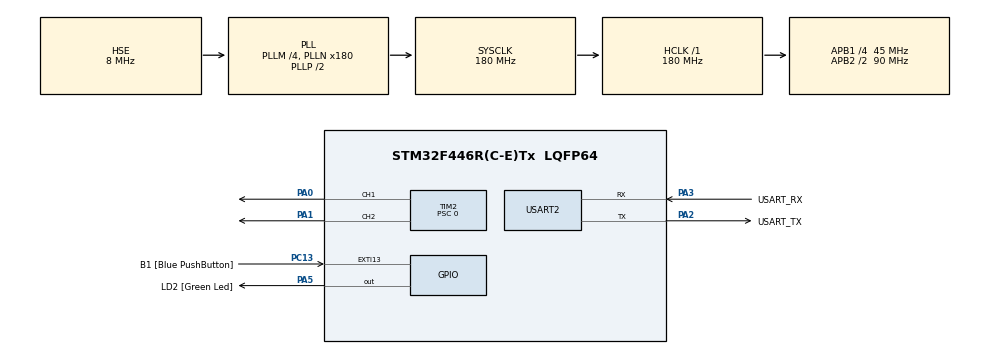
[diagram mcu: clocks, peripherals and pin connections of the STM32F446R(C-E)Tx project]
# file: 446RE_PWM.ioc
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Mcu.Family=STM32F4
Mcu.Name=STM32F446R(C-E)Tx
Mcu.Package=LQFP64
NVIC.PriorityGroup=NVIC_PRIORITYGROUP_0
NVIC.TIM3_IRQn=true\:0\:0\:false\:false\:true\:true
PA0-WKUP.Signal=S_TIM2_CH1_ETR
PA1.Signal=S_TIM2_CH2
PA13.GPIO_Label=TMS
PA13.Mode=Serial_Wire
PA13.Signal=SYS_JTMS-SWDIO
PA14.GPIO_Label=TCK
PA14.Mode=Serial_Wire
PA14.Signal=SYS_JTCK-SWCLK
PA2.GPIO_Label=USART_TX
PA2.Mode=Asynchronous
PA2.Signal=USART2_TX
PA3.GPIO_Label=USART_RX
PA3.Mode=Asynchronous
PA3.Signal=USART2_RX
PA5.GPIO_Label=LD2 [Green Led]
PA5.Signal=GPIO_Output
PB3.GPIO_Label=SWO
PB3.Signal=SYS_JTDO-SWO
PC13.GPIO_Label=B1 [Blue PushButton]
PC13.GPIO_ModeDefaultEXTI=GPIO_MODE_IT_FALLING
PC13.Signal=GPXTI13
PC14-OSC32_IN.Mode=LSE-External-Oscillator
PC14-OSC32_IN.Signal=RCC_OSC32_IN
PC15-OSC32_OUT.Mode=LSE-External-Oscillator
PC15-OSC32_OUT.Signal=RCC_OSC32_OUT
PH0-OSC_IN.Mode=HSE-External-Oscillator
PH0-OSC_IN.Signal=RCC_OSC_IN
PH1-OSC_OUT.Mode=HSE-External-Oscillator
PH1-OSC_OUT.Signal=RCC_OSC_OUT
ProjectManager.HeapSize=0x200
ProjectManager.StackSize=0x400
ProjectManager.TargetToolchain=TrueSTUDIO
RCC.48MHZClocksFreq_Value=84000000
RCC.AHBFreq_Value=180000000
RCC.APB1CLKDivider=RCC_HCLK_DIV4
RCC.APB1Freq_Value=45000000
RCC.APB1TimFreq_Value=90000000
RCC.APB2CLKDivider=RCC_HCLK_DIV2
RCC.APB2Freq_Value=90000000
RCC.APB2TimFreq_Value=180000000
RCC.CortexFreq_Value=180000000
RCC.FLatency-AdvancedSettings=FLASH_LATENCY_5
RCC.HCLKFreq_Value=180000000
RCC.HSE_VALUE=8000000
RCC.HSI_VALUE=16000000
RCC.PLLM=4
RCC.PLLN=180
RCC.PLLSourceVirtual=RCC_PLLSOURCE_HSE
RCC.SYSCLKFreq_VALUE=180000000
RCC.SYSCLKSource=RCC_SYSCLKSOURCE_PLLCLK
RCC.USBFreq_Value=180000000
RCC.VCOOutputFreq_Value=360000000
SH.S_TIM2_CH1_ETR.0=TIM2_CH1,PWM Generation1 CH1
SH.S_TIM2_CH2.0=TIM2_CH2,PWM Generation2 CH2
TIM2.Channel-PWM\ Generation1\ CH1=TIM_CHANNEL_1
TIM2.Channel-PWM\ Generation2\ CH2=TIM_CHANNEL_2
TIM2.Period=999
TIM2.Prescaler=0
TIM3.Period=9999
TIM3.Prescaler=26
USART2.VirtualMode=VM_ASYNC
VP_TIM3_VS_ClockSourceINT.Mode=Internal
board=NUCLEO-F446RE

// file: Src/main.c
/**
  ******************************************************************************
  * @file           : main.c
  * @brief          : Main program body
  ******************************************************************************
  ** This notice applies to any and all portions of this file
  * that are not between comment pairs USER CODE BEGIN and
  * USER CODE END. Other portions of this file, whether
  * inserted by the user or by software development tools
  * are owned by their respective copyright owners.
  *
  * COPYRIGHT(c) 2018 STMicroelectronics
  *
  * Redistribution and use in source and binary forms, with or without modification,
  * are permitted provided that the following conditions are met:
  *   1. Redistributions of source code must retain the above copyright notice,
  *      this list of conditions and the following disclaimer.
  *   2. Redistributions in binary form must reproduce the above copyright notice,
  *      this list of conditions and the following disclaimer in the documentation
  *      and/or other materials provided with the distribution.
  *   3. Neither the name of STMicroelectronics nor the names of its contributors
  *      may be used to endorse or promote products derived from this software
  *      without specific prior written permission.
  *
  * THIS SOFTWARE IS PROVIDED BY THE COPYRIGHT HOLDERS AND CONTRIBUTORS "AS IS"
  * AND ANY EXPRESS OR IMPLIED WARRANTIES, INCLUDING, BUT NOT LIMITED TO, THE
  * IMPLIED WARRANTIES OF MERCHANTABILITY AND FITNESS FOR A PARTICULAR PURPOSE ARE
  * DISCLAIMED. IN NO EVENT SHALL THE COPYRIGHT HOLDER OR CONTRIBUTORS BE LIABLE
  * FOR ANY DIRECT, INDIRECT, INCIDENTAL, SPECIAL, EXEMPLARY, OR CONSEQUENTIAL
  * DAMAGES (INCLUDING, BUT NOT LIMITED TO, PROCUREMENT OF SUBSTITUTE GOODS OR
  * SERVICES; LOSS OF USE, DATA, OR PROFITS; OR BUSINESS INTERRUPTION) HOWEVER
  * CAUSED AND ON ANY THEORY OF LIABILITY, WHETHER IN CONTRACT, STRICT LIABILITY,
  * OR TORT (INCLUDING NEGLIGENCE OR OTHERWISE) ARISING IN ANY WAY OUT OF THE USE
  * OF THIS SOFTWARE, EVEN IF ADVISED OF THE POSSIBILITY OF SUCH DAMAGE.
  *
  ******************************************************************************
  */
#include "main.h"
#include "stm32f4xx_hal.h"

TIM_HandleTypeDef htim2;
TIM_HandleTypeDef htim3;

UART_HandleTypeDef huart2;

/* USER CODE BEGIN PV */
/* Private variables ---------------------------------------------------------*/
int up,dn;
uint8_t updntgl = 0;
/* USER CODE END PV */

void SystemClock_Config(void);
static void MX_GPIO_Init(void);
static void MX_USART2_UART_Init(void);
static void MX_TIM2_Init(void);
static void MX_TIM3_Init(void);
void HAL_TIM_MspPostInit(TIM_HandleTypeDef *htim);

/* USER CODE BEGIN PFP */
/* Private function prototypes -----------------------------------------------*/
void	HAL_TIM_PeriodElapsedCallback(TIM_HandleTypeDef *htim);

/* USER CODE END PFP */

/* USER CODE BEGIN 0 */
void	HAL_TIM_PeriodElapsedCallback(TIM_HandleTypeDef *htim)
{
	if(htim->Instance==TIM3)
	{
		  if(up<=999 && updntgl==0)
		  {
			  TIM2->CCR1 = up;
			  TIM2->CCR2 = 999-up;
			  if(up<999) up++;
			  else if(up==999)
			  {
				  updntgl=1;
			  }
		  }
		  else if(up>=0 && updntgl==1)
		  {
			  TIM2->CCR1 = up;
			  TIM2->CCR2 = 999-up;
			  if(up>=1 && up<=999) up--;
			  else if(up==0)
			  {
				  updntgl=0;
			  }
		  }
	}
}
/* USER CODE END 0 */

int main(void)
{

  /* MCU Configuration----------------------------------------------------------*/

  /* Reset of all peripherals, Initializes the Flash interface and the Systick. */
  HAL_Init();

  /* Configure the system clock */
  SystemClock_Config();

  /* Initialize all configured peripherals */
  MX_GPIO_Init();
  MX_USART2_UART_Init();
  MX_TIM2_Init();
  MX_TIM3_Init();
  /* USER CODE BEGIN 2 */
  while(HAL_TIM_Base_Start_IT(&htim3)!=HAL_OK);

  while(HAL_TIM_PWM_Start(&htim2,TIM_CHANNEL_1)!=HAL_OK);
  while(HAL_TIM_PWM_Start(&htim2,TIM_CHANNEL_2)!=HAL_OK);
  /* USER CODE END 2 */

  /* Infinite loop */
  /* USER CODE BEGIN WHILE */
  HAL_GPIO_WritePin(LD2_GPIO_Port, LD2_Pin, GPIO_PIN_SET);

  while (1)
  {

  /* USER CODE END WHILE */

  /* USER CODE BEGIN 3 */
/*
	  for(up=0;up<=999;up++)
	  {
		  TIM2->CCR1 = up;
		  TIM2->CCR2 = 999-up;
		  HAL_Delay(2);
	  }
	  HAL_Delay(100);
	  for(dn=999;dn>=0;dn--)
	  {
		  TIM2->CCR1 = dn;
		  TIM2->CCR2 = 999-dn;
		  HAL_Delay(2);
	  }
	  HAL_Delay(100); */

  }
  /* USER CODE END 3 */

}

void SystemClock_Config(void)
{

  RCC_OscInitTypeDef RCC_OscInitStruct;
  RCC_ClkInitTypeDef RCC_ClkInitStruct;

    /**Configure the main internal regulator output voltage
    */
  __HAL_RCC_PWR_CLK_ENABLE();

  __HAL_PWR_VOLTAGESCALING_CONFIG(PWR_REGULATOR_VOLTAGE_SCALE1);

    /**Initializes the CPU, AHB and APB busses clocks
    */
  RCC_OscInitStruct.OscillatorType = RCC_OSCILLATORTYPE_HSE;
  RCC_OscInitStruct.HSEState = RCC_HSE_ON;
  RCC_OscInitStruct.PLL.PLLState = RCC_PLL_ON;
  RCC_OscInitStruct.PLL.PLLSource = RCC_PLLSOURCE_HSE;
  RCC_OscInitStruct.PLL.PLLM = 4;
  RCC_OscInitStruct.PLL.PLLN = 180;
  RCC_OscInitStruct.PLL.PLLP = RCC_PLLP_DIV2;
  RCC_OscInitStruct.PLL.PLLQ = 2;
  RCC_OscInitStruct.PLL.PLLR = 2;
  if (HAL_RCC_OscConfig(&RCC_OscInitStruct) != HAL_OK)
  {
    _Error_Handler(__FILE__, __LINE__);
  }

    /**Activate the Over-Drive mode
    */
  if (HAL_PWREx_EnableOverDrive() != HAL_OK)
  {
    _Error_Handler(__FILE__, __LINE__);
  }

    /**Initializes the CPU, AHB and APB busses clocks
    */
  RCC_ClkInitStruct.ClockType = RCC_CLOCKTYPE_HCLK|RCC_CLOCKTYPE_SYSCLK
                              |RCC_CLOCKTYPE_PCLK1|RCC_CLOCKTYPE_PCLK2;
  RCC_ClkInitStruct.SYSCLKSource = RCC_SYSCLKSOURCE_PLLCLK;
  RCC_ClkInitStruct.AHBCLKDivider = RCC_SYSCLK_DIV1;
  RCC_ClkInitStruct.APB1CLKDivider = RCC_HCLK_DIV4;
  RCC_ClkInitStruct.APB2CLKDivider = RCC_HCLK_DIV2;

  if (HAL_RCC_ClockConfig(&RCC_ClkInitStruct, FLASH_LATENCY_5) != HAL_OK)
  {
    _Error_Handler(__FILE__, __LINE__);
  }

    /**Configure the Systick interrupt time
    */
  HAL_SYSTICK_Config(HAL_RCC_GetHCLKFreq()/1000);

    /**Configure the Systick
    */
  HAL_SYSTICK_CLKSourceConfig(SYSTICK_CLKSOURCE_HCLK);

  /* SysTick_IRQn interrupt configuration */
  HAL_NVIC_SetPriority(SysTick_IRQn, 0, 0);
}

/* TIM2 init function */
static void MX_TIM2_Init(void)
{

  TIM_MasterConfigTypeDef sMasterConfig;
  TIM_OC_InitTypeDef sConfigOC;

  htim2.Instance = TIM2;
  htim2.Init.Prescaler = 0;
  htim2.Init.CounterMode = TIM_COUNTERMODE_UP;
  htim2.Init.Period = 999;
  htim2.Init.ClockDivision = TIM_CLOCKDIVISION_DIV1;
  if (HAL_TIM_PWM_Init(&htim2) != HAL_OK)
  {
    _Error_Handler(__FILE__, __LINE__);
  }

  sMasterConfig.MasterOutputTrigger = TIM_TRGO_RESET;
  sMasterConfig.MasterSlaveMode = TIM_MASTERSLAVEMODE_DISABLE;
  if (HAL_TIMEx_MasterConfigSynchronization(&htim2, &sMasterConfig) != HAL_OK)
  {
    _Error_Handler(__FILE__, __LINE__);
  }

  sConfigOC.OCMode = TIM_OCMODE_PWM1;
  sConfigOC.Pulse = 0;
  sConfigOC.OCPolarity = TIM_OCPOLARITY_HIGH;
  sConfigOC.OCFastMode = TIM_OCFAST_DISABLE;
  if (HAL_TIM_PWM_ConfigChannel(&htim2, &sConfigOC, TIM_CHANNEL_1) != HAL_OK)
  {
    _Error_Handler(__FILE__, __LINE__);
  }

  if (HAL_TIM_PWM_ConfigChannel(&htim2, &sConfigOC, TIM_CHANNEL_2) != HAL_OK)
  {
    _Error_Handler(__FILE__, __LINE__);
  }

  HAL_TIM_MspPostInit(&htim2);

}

/* TIM3 init function */
static void MX_TIM3_Init(void)
{

  TIM_ClockConfigTypeDef sClockSourceConfig;
  TIM_MasterConfigTypeDef sMasterConfig;

  htim3.Instance = TIM3;
  htim3.Init.Prescaler = 26;
  htim3.Init.CounterMode = TIM_COUNTERMODE_UP;
  htim3.Init.Period = 9999;
  htim3.Init.ClockDivision = TIM_CLOCKDIVISION_DIV1;
  if (HAL_TIM_Base_Init(&htim3) != HAL_OK)
  {
    _Error_Handler(__FILE__, __LINE__);
  }

  sClockSourceConfig.ClockSource = TIM_CLOCKSOURCE_INTERNAL;
  if (HAL_TIM_ConfigClockSource(&htim3, &sClockSourceConfig) != HAL_OK)
  {
    _Error_Handler(__FILE__, __LINE__);
  }

  sMasterConfig.MasterOutputTrigger = TIM_TRGO_RESET;
  sMasterConfig.MasterSlaveMode = TIM_MASTERSLAVEMODE_DISABLE;
  if (HAL_TIMEx_MasterConfigSynchronization(&htim3, &sMasterConfig) != HAL_OK)
  {
    _Error_Handler(__FILE__, __LINE__);
  }

}

/* USART2 init function */
static void MX_USART2_UART_Init(void)
{

  huart2.Instance = USART2;
  huart2.Init.BaudRate = 115200;
  huart2.Init.WordLength = UART_WORDLENGTH_8B;
  huart2.Init.StopBits = UART_STOPBITS_1;
  huart2.Init.Parity = UART_PARITY_NONE;
  huart2.Init.Mode = UART_MODE_TX_RX;
  huart2.Init.HwFlowCtl = UART_HWCONTROL_NONE;
  huart2.Init.OverSampling = UART_OVERSAMPLING_16;
  if (HAL_UART_Init(&huart2) != HAL_OK)
  {
    _Error_Handler(__FILE__, __LINE__);
  }

}

/** Configure pins as
        * Analog
        * Input
        * Output
        * EVENT_OUT
        * EXTI
*/
static void MX_GPIO_Init(void)
{

  GPIO_InitTypeDef GPIO_InitStruct;

  /* GPIO Ports Clock Enable */
  __HAL_RCC_GPIOC_CLK_ENABLE();
  __HAL_RCC_GPIOH_CLK_ENABLE();
  __HAL_RCC_GPIOA_CLK_ENABLE();
  __HAL_RCC_GPIOB_CLK_ENABLE();

  /*Configure GPIO pin Output Level */
  HAL_GPIO_WritePin(LD2_GPIO_Port, LD2_Pin, GPIO_PIN_RESET);

  /*Configure GPIO pin : B1_Pin */
  GPIO_InitStruct.Pin = B1_Pin;
  GPIO_InitStruct.Mode = GPIO_MODE_IT_FALLING;
  GPIO_InitStruct.Pull = GPIO_NOPULL;
  HAL_GPIO_Init(B1_GPIO_Port, &GPIO_InitStruct);

  /*Configure GPIO pin : LD2_Pin */
  GPIO_InitStruct.Pin = LD2_Pin;
  GPIO_InitStruct.Mode = GPIO_MODE_OUTPUT_PP;
  GPIO_InitStruct.Pull = GPIO_NOPULL;
  GPIO_InitStruct.Speed = GPIO_SPEED_FREQ_LOW;
  HAL_GPIO_Init(LD2_GPIO_Port, &GPIO_InitStruct);

}

void _Error_Handler(char *file, int line)
{
  while(1)
  {
  }
}

/************************ (C) COPYRIGHT STMicroelectronics *****END OF FILE****/
